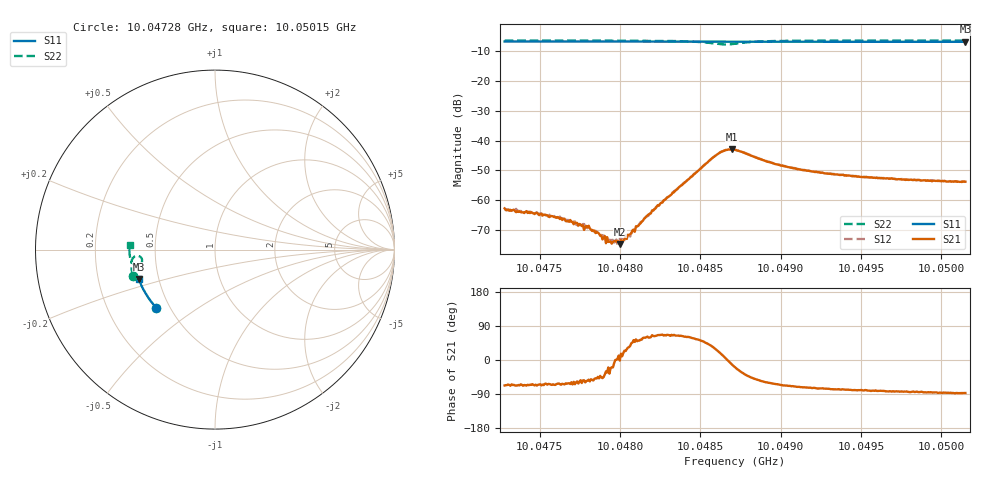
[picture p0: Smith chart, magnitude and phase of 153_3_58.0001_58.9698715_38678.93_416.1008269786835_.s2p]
#  HZ  S  RI  R  50.00
! Rohde & Schwarz Vector Network Analyzer
! Rohde-Schwarz,ZNB20-2Port,1311601062101988,3.16
! Created: UTC 3/21/2024, 12:57:07 AM
! freq[Hz]  re:S11  im:S11  re:S21  im:S21  re:S12  im:S12  re:S22  im:S22
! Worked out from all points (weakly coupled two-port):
!   401 points, 10.04728 GHz to 10.05015 GHz, reference 50 ohm
!   highest |S21| = -42.94 dB at 10.0487 GHz (marker M1); lowest = -74.6 dB at 10.048 GHz (marker M2)
!   lowest |S11| = -6.8 dB at 10.05015 GHz (marker M3), VSWR 2.67, Z = 19.3 - j7.94 ohm
!   |S11| at or under -10 dB: nowhere
!   |S22| runs from -7.7 to -6.4 dB; largest |S21 - S12| = 0.00048
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1.0047283e10  -0.327 -0.3239  0.000284 -0.000675  0.000327 -0.000642  -0.4561 -0.1468
1.0047584e10  -0.3403 -0.309  0.000234 -0.000485  0.000276 -0.000472  -0.4613 -0.1258
1.0047706e10  -0.3456 -0.3027  0.000186 -0.000392  0.000238 -0.000358  -0.4632 -0.1171
1.0047742e10  -0.3471 -0.301  0.000177 -0.000334  0.000228 -0.000293  -0.4637 -0.1144
1.0047763e10  -0.348 -0.2999  0.00018 -0.000322  0.000235 -0.000311  -0.4639 -0.1129
1.0047806e10  -0.3496 -0.2977  0.000232 -0.000294  0.000212 -0.000249  -0.4645 -0.1096
1.0047942e10  -0.3552 -0.2905  0.00019 -7.46e-05  0.000184 -0.000103  -0.4659 -0.099
1.0047978e10  -0.3568 -0.2885  0.000202 1.53e-06  0.000219 2.66e-05  -0.4661 -0.0961
1.0048e10  -0.3576 -0.2873  0.000186 -4.91e-06  0.000219 6.52e-05  -0.4665 -0.0943
1.0048028e10  -0.3588 -0.2859  0.000205 9.36e-05  0.00019 9.66e-05  -0.4666 -0.092
1.0048071e10  -0.3605 -0.2836  0.000202 0.000197  0.000205 0.000189  -0.4668 -0.0882
1.0048143e10  -0.3631 -0.2799  0.000238 0.000385  0.000247 0.000403  -0.4671 -0.0818
1.0048243e10  -0.3672 -0.2743  0.000332 0.000744  0.000297 0.000775  -0.4665 -0.0716
1.0048588e10  -0.3793 -0.2551  0.00462 0.00281  0.00447 0.00309  -0.4249 -0.0356
1.0048645e10  -0.3812 -0.252  0.00662 0.00118  0.0066 0.00157  -0.4079 -0.0508
1.0048695e10  -0.3828 -0.2496  0.007 -0.00137  0.0071 -0.000939  -0.4086 -0.0728
1.0048717e10  -0.3834 -0.2484  0.00664 -0.00229  0.00676 -0.00192  -0.4138 -0.0801
1.004896e10  -0.3922 -0.2349  0.00188 -0.00366  0.0021 -0.00362  -0.463 -0.0706
1.0049197e10  -0.3996 -0.221  0.000828 -0.00292  0.00104 -0.00289  -0.4726 -0.0463
1.0049491e10  -0.4083 -0.2036  0.000443 -0.00244  0.000571 -0.00244  -0.4759 -0.0218
1.0049677e10  -0.4133 -0.1924  0.000303 -0.00228  0.000445 -0.00227  -0.4767 -0.00789
1.005015e10  -0.4248 -0.1633  0.000103 -0.00204  0.00021 -0.00203  -0.476 0.0258
